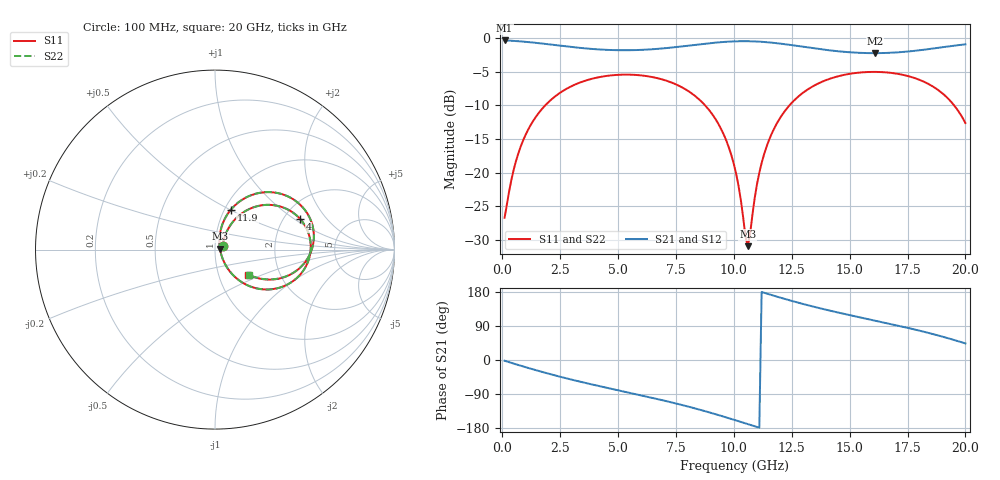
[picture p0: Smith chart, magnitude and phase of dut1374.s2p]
! Touchstone file exported from HFSS 2026.1.0
!  File:  C:/ffzhzh/LocalFiles/Ansys_Project_Files/temp_train_TSV_RDL_1374_1783346357_48288.aedt
!  Generated:  10:16:17 PM Jul  6, 2026
!  Design:  TSV_RDL
!  Project:  temp_train_TSV_RDL_1374_1783346357_48288
! Variables:
!  h_bsmrdl = 4.84um
!  h_ox = 20um
!  h_rdl = 5um
!  h_sub = 65.18um
!  h_tmrdl = 2.2um
!  h_tsv = 65.18um
!  h_via = 3um
!  l_bsmrdl = 344.89um
!  l_sub = 5250.46um
!  l_tmrdl = 921.66um
!  m_sub = 200um
!  pitch = 45.61um
!  r_tsv = 12.9um
!  s_tmrdl = 10um
!  w_bsmrdl = 28.13um
!  w_sub = 500um
!  w_tmrdl = 14.92um
!  x_tsv_center1 = 929.12um
!  x_tsv_center2 = 1302.14um
!  x_tsv_center3 = 2238.72um
!  x_tsv_center4 = 2611.74um
!  x_tsv_center5 = 3548.32um
!  x_tsv_center6 = 3921.34um
# GHz S MA R 50.000000
! Terminal data exported
! Port[1] = TM_RDL1_1_T1
! Port[2] = TM_RDL5_1_T1
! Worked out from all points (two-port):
!   200 points, 100 MHz to 20 GHz, reference 50 ohm
!   highest |S21| = -0.37 dB at 100 MHz (marker M1); lowest = -2.3 dB at 16.1 GHz (marker M2)
!   |S21| within 3 dB of the highest: start of sweep to end of sweep
!   lowest |S11| = -30.9 dB at 10.6 GHz (marker M3), VSWR 1.06, Z = 52.9 + j0.549 ohm
!   |S11| at or under -10 dB: start of sweep to 1.861 GHz; 8.753 GHz to 12.41 GHz (3.654 GHz wide, 34.5 % of centre); 19.51 GHz to end of sweep
!   |S22| runs from -31.1 to -5.0 dB; largest |S21 - S12| = 1.5e-14
!   S11 on the Smith chart (normalised r, x): 100 MHz: 1.09, +0.04; 4 GHz: 2.43, +1.12; 11.9 GHz: 1.07, +0.50; 20 GHz: 1.39, -0.41
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0.1  0.04611 24.0  0.9583 -2.0  0.9583 -2.0  0.04611 24.0
! Gamma 0 0 0 0
! Port Impedance 50 0 50 0
0.6  0.1231 57.1  0.9485 -11.5  0.9485 -11.5  0.1231 57.1
1.2  0.2213 55.4  0.9294 -22.4  0.9294 -22.4  0.2213 55.4
2.2  0.3585 43.5  0.889 -39.4  0.889 -39.4  0.3585 43.5
3.5  0.4762 26.3  0.8393 -59.2  0.8393 -59.2  0.4762 26.3
4  0.5037 19.9  0.8256 -66.3  0.8256 -66.3  0.5037 19.9
5.4  0.534 2.3  0.8106 -85.3  0.8106 -85.3  0.534 2.3
6.8  0.4977 -15.6  0.8324 -104.5  0.8324 -104.5  0.4978 -15.6
8  0.4065 -32.1  0.8752 -122.5  0.8752 -122.5  0.4065 -32.1
8.9  0.2957 -45.1  0.9121 -137.5  0.9121 -137.5  0.2958 -45.2
9.6  0.1854 -54.0  0.9351 -150.1  0.9351 -150.1  0.1854 -54.1
10.1  0.09771 -55.1  0.9446 -159.5  0.9446 -159.5  0.09766 -55.3
10.6  0.02835 10.6  0.9461 -169.1  0.9461 -169.1  0.02794 10.4
11  0.08186 71.1  0.9412 -176.8  0.9412 -176.8  0.08164 71.4
11.2  0.1176 73.8  0.9367 179.4  0.9367 179.4  0.1174 74.0
11.9  0.2387 68.4  0.9127 166.5  0.9127 166.5  0.2385 68.5
13.4  0.436 47.3  0.8407 141.4  0.8407 141.4  0.4359 47.3
14.8  0.5334 28.7  0.7879 121.2  0.7879 121.2  0.5333 28.8
16.1  0.5597 12.7  0.7711 103.9  0.7711 103.9  0.5595 12.8
16.7  0.5524 5.4  0.7754 95.9  0.7754 95.9  0.5523 5.5
18.7  0.4245 -20.6  0.8391 66.8  0.8391 66.8  0.4245 -20.4
20  0.2332 -36.9  0.896 43.7  0.896 43.7  0.2333 -36.6
